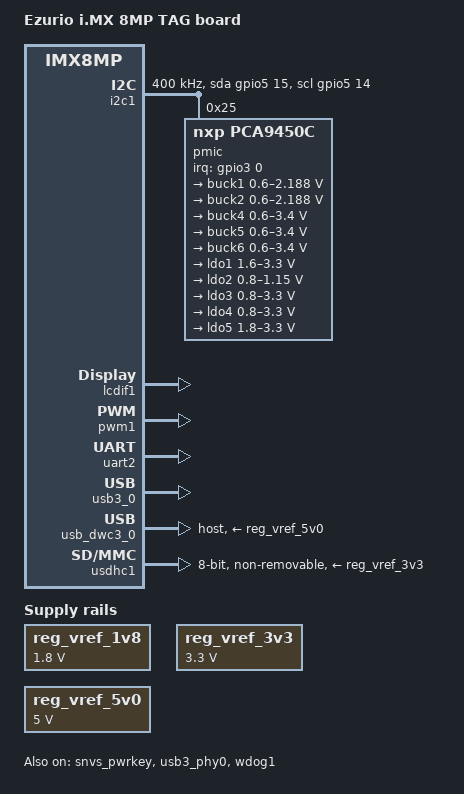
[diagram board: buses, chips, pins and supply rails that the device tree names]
// SPDX-License-Identifier: (GPL-2.0+ OR MIT)
/*
 * Copyright 2025 Ezurio LLC
 */

/dts-v1/;
#ifdef CONFIG_DEFCONFIG
#define UBOOT
#endif
#define IMX8MP

#include <dt-bindings/usb/pd.h>
#include "imx8mp.dtsi"
#include <dt-bindings/net/ti-dp83867.h>

/ {
	model = "Ezurio i.MX 8MP TAG board";
	compatible = "ezurio,imx8mp-tag", "fsl,imx8mp";

	chosen {
		stdout-path = &uart2;
	};

	reserved-memory {
		linux,cma {
			size = <0 0x20000000>;
		};
	};

	reg_vref_1v8: regulator-vref-1v8 {
		compatible = "regulator-fixed";
		regulator-name = "vref-1v8";
		regulator-min-microvolt = <1800000>;
		regulator-max-microvolt = <1800000>;
	};

	reg_vref_3v3: regulator-vref-3v3 {
		compatible = "regulator-fixed";
		regulator-name = "vref-3v3";
		regulator-min-microvolt = <3300000>;
		regulator-max-microvolt = <3300000>;
	};

	reg_vref_5v0: regulator-vref-5v0 {
		compatible = "regulator-fixed";
		regulator-name = "vref-5v0";
		regulator-min-microvolt = <5000000>;
		regulator-max-microvolt = <5000000>;
	};
};

#ifndef UBOOT
&A53_0 {
	cpu-supply = <&buck2>;
};

&A53_1 {
	cpu-supply = <&buck2>;
};

&A53_2 {
	cpu-supply = <&buck2>;
};

&A53_3 {
	cpu-supply = <&buck2>;
};

&aips3 {
};
#endif

&clk {
	init-on-array = <IMX8MP_CLK_HSIO_ROOT>;

	video_pll1 {
		modulation-frequency = <10000>;
	};
};

&i2c1 {
	clock-frequency = <400000>;
	pinctrl-names = "default", "gpio";
	pinctrl-0 = <&pinctrl_i2c1>;
	pinctrl-1 = <&pinctrl_i2c1_1>;
	scl-gpios = <&gpio5 14 GPIO_OPEN_DRAIN>;
	sda-gpios = <&gpio5 15 GPIO_OPEN_DRAIN>;
	status = "okay";

	pmic: pca9450@25 {
		reg = <0x25>;
		compatible = "nxp,pca9450c";
		/* PMIC PCA9450 PMIC_nINT GPIO1_IO3 */
		pinctrl-0 = <&pinctrl_pmic>;
		interrupts-extended = <&gpio3 0 IRQ_TYPE_LEVEL_LOW>;

		regulators {
			buck1: BUCK1 {
				regulator-name = "BUCK1";
				regulator-min-microvolt = <600000>;
				regulator-max-microvolt = <2187500>;
				regulator-boot-on;
				regulator-always-on;
				regulator-ramp-delay = <3125>;
			};

			buck2: BUCK2 {
				regulator-name = "BUCK2";
				regulator-min-microvolt = <600000>;
				regulator-max-microvolt = <2187500>;
				regulator-limit-microvolt = <1025000>;
				regulator-boot-on;
				regulator-always-on;
				regulator-ramp-delay = <3125>;
				nxp,dvs-run-voltage = <950000>;
				nxp,dvs-standby-voltage = <850000>;
			};

			buck4: BUCK4 {
				regulator-name = "BUCK4";
				regulator-min-microvolt = <600000>;
				regulator-max-microvolt = <3400000>;
				regulator-boot-on;
				regulator-always-on;
			};

			buck5: BUCK5 {
				regulator-name = "BUCK5";
				regulator-min-microvolt = <600000>;
				regulator-max-microvolt = <3400000>;
				regulator-boot-on;
				regulator-always-on;
			};

			buck6: BUCK6 {
				regulator-name = "BUCK6";
				regulator-min-microvolt = <600000>;
				regulator-max-microvolt = <3400000>;
				regulator-boot-on;
				regulator-always-on;
			};

			ldo1: LDO1 {
				regulator-name = "LDO1";
				regulator-min-microvolt = <1600000>;
				regulator-max-microvolt = <3300000>;
				regulator-boot-on;
				regulator-always-on;
			};

			ldo2: LDO2 {
				regulator-name = "LDO2";
				regulator-min-microvolt = <800000>;
				regulator-max-microvolt = <1150000>;
				regulator-boot-on;
				regulator-always-on;
			};

			ldo3: LDO3 {
				regulator-name = "LDO3";
				regulator-min-microvolt = <800000>;
				regulator-max-microvolt = <3300000>;
				regulator-boot-on;
				regulator-always-on;
			};

			ldo4: LDO4 {
				regulator-name = "LDO4";
				regulator-min-microvolt = <800000>;
				regulator-max-microvolt = <3300000>;
				regulator-boot-on;
				regulator-always-on;
			};

			ldo5: LDO5 {
				regulator-name = "LDO5";
				regulator-min-microvolt = <1800000>;
				regulator-max-microvolt = <3300000>;
				regulator-boot-on;
				regulator-always-on;
			};
		};
	};
};

&lcdif1 {
	status = "okay";
};

&pwm1 {
	pinctrl-names = "default";
	pinctrl-0 = <&pinctrl_pwm1>;
	status = "okay";
};

&snvs_pwrkey {
	status = "okay";
};

&uart2 {
	/* J1 - console */
	pinctrl-names = "default";
	pinctrl-0 = <&pinctrl_uart2>;
	status = "okay";
};

&usb3_0 {
	fsl,over-current-active-low;
	status = "okay";
};

&usb_dwc3_0 {
	dr_mode = "host";
	pinctrl-names = "default";
	pinctrl-0 = <&pinctrl_usb3_0>;
	status = "okay";
	usb-role-switch;
	vbus-supply = <&reg_vref_5v0>;
};

&usb3_phy0 {
	fsl,phy-tx-preemp-amp-tune = <2>;
	status = "okay";
	vbus-supply = <&reg_vref_5v0>;
};

&usdhc1 {
	bus-width = <8>;
	mmc-hs400-1_8v;
	mmc-hs400-enhanced-strobe;
	no-sd;
	no-sdio;
	non-removable;
	pinctrl-names = "default", "state_100mhz", "state_200mhz";
	pinctrl-0 = <&pinctrl_usdhc1>;
	pinctrl-1 = <&pinctrl_usdhc1_100mhz>;
	pinctrl-2 = <&pinctrl_usdhc1_200mhz>;
	status = "okay";
	vmmc-supply = <&reg_vref_3v3>;
	vqmmc-1-8-v;
	vqmmc-supply = <&reg_vref_1v8>;
};

&wdog1 {
	pinctrl-names = "default";
	pinctrl-0 = <&pinctrl_wdog>;
	fsl,ext-reset-output;
	status = "okay";
};

&iomuxc {
	pinctrl-names = "default";
	pinctrl-0 = <&pinctrl_hog>;

	pinctrl_hog: hoggrp {
		fsl,pins = <
			MX8MP_IOMUXC_GPIO1_IO09__GPIO1_IO09		0x1c0	/* 1588_EVENT0_OUT TODO do something with this ?? */
		>;
	};

	pinctrl_i2c1: i2c1grp {
		fsl,pins = <
			MX8MP_IOMUXC_I2C1_SCL__I2C1_SCL		0x400001c3
			MX8MP_IOMUXC_I2C1_SDA__I2C1_SDA		0x400001c3
		>;
	};

	pinctrl_i2c1_1: i2c1-1grp {
		fsl,pins = <
			MX8MP_IOMUXC_I2C1_SCL__GPIO5_IO14        	0x1c3
			MX8MP_IOMUXC_I2C1_SDA__GPIO5_IO15        	0x1c3
		>;
	};

	pinctrl_pmic: pmicirq {
		fsl,pins = <
			MX8MP_IOMUXC_NAND_ALE__GPIO3_IO00	0x41
		>;
	};

	pinctrl_pwm1: pwm1grp {
		fsl,pins = <
			MX8MP_IOMUXC_SAI5_MCLK__PWM1_OUT	0x160
		>;
	};

	pinctrl_uart2: uart2grp {
		fsl,pins = <
			MX8MP_IOMUXC_UART2_RXD__UART2_DCE_RX	0x140
			MX8MP_IOMUXC_UART2_TXD__UART2_DCE_TX	0x140
		>;
	};

	pinctrl_usb3_0: usb3-0grp {
		fsl,pins = <
		      //MX8MP_IOMUXC_GPIO1_IO13__USB1_OC        0x1c0
			MX8MP_IOMUXC_GPIO1_IO13__USB1_OTG_OC	0x1c0
		>;
	};

	pinctrl_usdhc1: usdhc1grp {
		fsl,pins = <
			MX8MP_IOMUXC_SD1_CLK__USDHC1_CLK	0x10
			MX8MP_IOMUXC_SD1_CMD__USDHC1_CMD	0x150
			MX8MP_IOMUXC_SD1_DATA0__USDHC1_DATA0	0x150
			MX8MP_IOMUXC_SD1_DATA1__USDHC1_DATA1	0x150
			MX8MP_IOMUXC_SD1_DATA2__USDHC1_DATA2	0x150
			MX8MP_IOMUXC_SD1_DATA3__USDHC1_DATA3	0x150
			MX8MP_IOMUXC_SD1_DATA4__USDHC1_DATA4	0x150
			MX8MP_IOMUXC_SD1_DATA5__USDHC1_DATA5	0x150
			MX8MP_IOMUXC_SD1_DATA6__USDHC1_DATA6	0x150
			MX8MP_IOMUXC_SD1_DATA7__USDHC1_DATA7	0x150
			MX8MP_IOMUXC_SD1_STROBE__USDHC1_STROBE	0x10
			MX8MP_IOMUXC_SD1_RESET_B__USDHC1_RESET_B 0x140
		>;
	};

	pinctrl_usdhc1_100mhz: usdhc1grp-100mhz {
		fsl,pins = <
			MX8MP_IOMUXC_SD1_CLK__USDHC1_CLK	0x14
			MX8MP_IOMUXC_SD1_CMD__USDHC1_CMD	0x154
			MX8MP_IOMUXC_SD1_DATA0__USDHC1_DATA0	0x154
			MX8MP_IOMUXC_SD1_DATA1__USDHC1_DATA1	0x154
			MX8MP_IOMUXC_SD1_DATA2__USDHC1_DATA2	0x154
			MX8MP_IOMUXC_SD1_DATA3__USDHC1_DATA3	0x154
			MX8MP_IOMUXC_SD1_DATA4__USDHC1_DATA4	0x154
			MX8MP_IOMUXC_SD1_DATA5__USDHC1_DATA5	0x154
			MX8MP_IOMUXC_SD1_DATA6__USDHC1_DATA6	0x154
			MX8MP_IOMUXC_SD1_DATA7__USDHC1_DATA7	0x154
			MX8MP_IOMUXC_SD1_STROBE__USDHC1_STROBE	0x14
		>;
	};

	pinctrl_usdhc1_200mhz: usdhc1grp-200mhz {
		fsl,pins = <
			MX8MP_IOMUXC_SD1_CLK__USDHC1_CLK	0x12
			MX8MP_IOMUXC_SD1_CMD__USDHC1_CMD	0x152
			MX8MP_IOMUXC_SD1_DATA0__USDHC1_DATA0	0x152
			MX8MP_IOMUXC_SD1_DATA1__USDHC1_DATA1	0x152
			MX8MP_IOMUXC_SD1_DATA2__USDHC1_DATA2	0x152
			MX8MP_IOMUXC_SD1_DATA3__USDHC1_DATA3	0x152
			MX8MP_IOMUXC_SD1_DATA4__USDHC1_DATA4	0x152
			MX8MP_IOMUXC_SD1_DATA5__USDHC1_DATA5	0x152
			MX8MP_IOMUXC_SD1_DATA6__USDHC1_DATA6	0x152
			MX8MP_IOMUXC_SD1_DATA7__USDHC1_DATA7	0x152
			MX8MP_IOMUXC_SD1_STROBE__USDHC1_STROBE	0x12
		>;
	};

	pinctrl_wdog: wdoggrp {
		fsl,pins = <
			MX8MP_IOMUXC_GPIO1_IO02__WDOG1_WDOG_B	0xc6
		>;
	};
};
